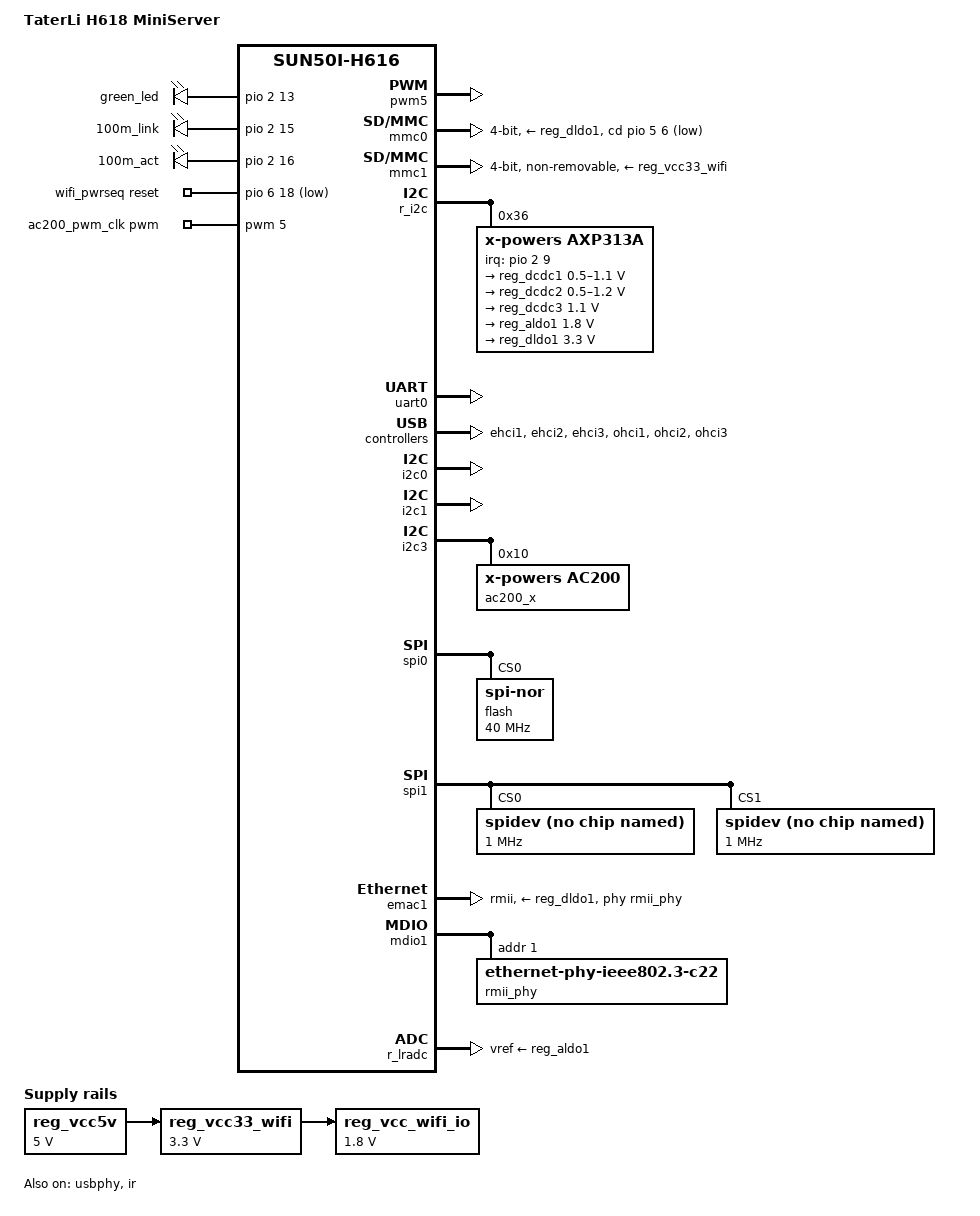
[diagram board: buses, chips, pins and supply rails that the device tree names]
// SPDX-License-Identifier: (GPL-2.0+ or MIT)
/*
 * Copyright (C) 2020 Arm Ltd.
 */

/dts-v1/;

#include "sun50i-h616.dtsi"
#include "sun50i-h616-cpu-opp.dtsi"

#include <dt-bindings/gpio/gpio.h>
#include <dt-bindings/interrupt-controller/arm-gic.h>
#include <dt-bindings/input/input.h>
#include <dt-bindings/leds/common.h>

/ {
	model = "TaterLi H618 MiniServer";
	compatible = "allwinner,sun50i-h616";

	aliases {
		serial0 = &uart0;
		serial2 = &uart2;
		serial3 = &uart3;
		serial4 = &uart4;
		serial5 = &uart5;
		ethernet0 = &emac1;
	};

	chosen {
		stdout-path = "serial0:115200n8";
	};

	leds: leds {
		compatible = "gpio-leds";

		led-green {
			label = "green_led";
			gpios = <&pio 2 13 GPIO_ACTIVE_HIGH>; /* PC13 */
			linux,default-trigger = "heartbeat";
		};

		100m_link {
			label = "100m_link";
			gpios = <&pio 2 15 GPIO_ACTIVE_HIGH>; /* PC15 */
			default-state = "off";
		};

		100m_act {
			label = "100m_act";
			gpios = <&pio 2 16 GPIO_ACTIVE_HIGH>; /* PC16 */
			default-state = "off";
		};
	};

	reg_vcc5v: vcc5v {
		/* board wide 5V supply directly from the USB-C socket */
		compatible = "regulator-fixed";
		regulator-name = "vcc-5v";
		regulator-min-microvolt = <5000000>;
		regulator-max-microvolt = <5000000>;
		regulator-always-on;
	};

	reg_vcc33_wifi: vcc33-wifi {
		/* Always on 3.3V regulator for WiFi and BT */
		compatible = "regulator-fixed";
		regulator-name = "vcc33-wifi";
		regulator-min-microvolt = <3300000>;
		regulator-max-microvolt = <3300000>;
		regulator-always-on;
		vin-supply = <&reg_vcc5v>;
	};

	reg_vcc_wifi_io: vcc-wifi-io {
		/* Always on 1.8V/300mA regulator for WiFi and BT IO */
		compatible = "regulator-fixed";
		regulator-name = "vcc-wifi-io";
		regulator-min-microvolt = <1800000>;
		regulator-max-microvolt = <1800000>;
		regulator-always-on;
		vin-supply = <&reg_vcc33_wifi>;
	};

	wifi_pwrseq: wifi-pwrseq {
		compatible = "mmc-pwrseq-simple";
		clocks = <&rtc 1>;
		clock-names = "osc32k-out";
		reset-gpios = <&pio 6 18 GPIO_ACTIVE_LOW>; /* PG18 */
		post-power-on-delay-ms = <200>;
	};

	ac200_pwm_clk: ac200_clk {
		compatible = "pwm-clock";
		#clock-cells = <0>;
		// pwm5 period_ns = 500 > 334 for select 24M clock.
		pwms = <&pwm 5 500 0>;
		clock-frequency = <2000000>;
		status = "okay";
	};
};

&pwm5 {
	// clk_bypass_output = 1 for Clock direct output without frequency division
	// so pwm5 output is 24MHz for AC200 & AC300 clock
	clk_bypass_output = <0x1>;
	status = "okay";
};

&mmc0 {
	vmmc-supply = <&reg_dldo1>;
	cd-gpios = <&pio 5 6 GPIO_ACTIVE_LOW>;	/* PF6 */
	bus-width = <4>;
	max-frequency = <50000000>;
	status = "okay";
};

&mmc1 {
	vmmc-supply = <&reg_vcc33_wifi>;
	vqmmc-supply = <&reg_vcc_wifi_io>;
	mmc-pwrseq = <&wifi_pwrseq>;
	bus-width = <4>;
	non-removable;
	mmc-ddr-1_8v;
	status = "okay";
};

&r_i2c {
	status = "okay";

	pinctrl-0 = <&r_i2c_pins>;

	axp313a: pmic@36 {
		compatible = "x-powers,axp313a";
		reg = <0x36>;
		wakeup-source;

		interrupt-parent = <&pio>;
		interrupts = <2 9 IRQ_TYPE_LEVEL_LOW>; /* PC9 */
		interrupt-controller;
		#interrupt-cells = <1>;

		regulators{
			reg_dcdc1: dcdc1 {
				regulator-name = "axp313a-dcdc1";
				regulator-min-microvolt = <500000>;
				regulator-max-microvolt = <1100000>;
				regulator-step-delay-us = <25>;
				regulator-final-delay-us = <50>;
				regulator-always-on;
			};

			reg_dcdc2: dcdc2 {
				regulator-name = "axp313a-dcdc2";
				regulator-min-microvolt = <500000>;
				regulator-max-microvolt = <1200000>;
				regulator-step-delay-us = <25>;
				regulator-final-delay-us = <50>;
				regulator-ramp-delay = <200>;
				regulator-always-on;
			};

			reg_dcdc3: dcdc3 {
				regulator-name = "axp313a-dcdc3";
				regulator-min-microvolt = <1100000>;
				regulator-max-microvolt = <1100000>;
				regulator-step-delay-us = <25>;
				regulator-final-delay-us = <50>;
				regulator-always-on;
			};

			reg_aldo1: ldo1 {
				regulator-name = "axp313a-aldo1";
				regulator-min-microvolt = <1800000>;
				regulator-max-microvolt = <1800000>;
				regulator-step-delay-us = <25>;
				regulator-final-delay-us = <50>;
				regulator-always-on;
			};

			reg_dldo1: ldo2 {
				regulator-name = "axp313a-dldo1";
				regulator-min-microvolt = <3300000>;
				regulator-max-microvolt = <3300000>;
				regulator-step-delay-us = <25>;
				regulator-final-delay-us = <50>;
				regulator-always-on;
			};
		};
	};
};

&uart0 {
	pinctrl-names = "default";
	pinctrl-0 = <&uart0_ph_pins>;
	status = "okay";
};

&usbphy {
	status = "okay";
};

&ehci1 {
	status = "okay";
};

&ehci2 {
	status = "okay";
};

&ehci3 {
	status = "okay";
};

&ohci1 {
	status = "okay";
};

&ohci2 {
	status = "okay";
};

&ohci3 {
	status = "okay";
};

&ir {
	pinctrl-names = "default";
	pinctrl-0 = <&ir_rx_pin>; /* PH10 -> 扩展板 */
	status = "okay";
};

&i2c0 {
	pinctrl-names = "default";
	pinctrl-0 = <&i2c0_pi_pins>;
	status = "okay";
};

&i2c1 {
	pinctrl-names = "default";
	pinctrl-0 = <&i2c1_pi_pins>;
	status = "okay";
};

&i2c3 {
	status = "okay";
	pinctrl-names = "default";
	pinctrl-0 = <&i2c3_pa_pins>;

	ac200_x: mfd@10 {
		compatible = "x-powers,ac200";
		reg = <0x10>;
		clocks = <&ac200_pwm_clk>;
		// ephy id
		nvmem-cells = <&ephy_calibration>;
		nvmem-cell-names = "calibration";

		ac200_ephy: phy {
			compatible = "x-powers,ac200-ephy";
			status = "okay";
		};
	};
};

&spi0  {
	status = "okay";
	pinctrl-names = "default";
	pinctrl-0 = <&spi0_pins>, <&spi0_cs0_pin>;

	flash@0 {
		status = "okay";
		#address-cells = <1>;
		#size-cells = <1>;
		compatible = "jedec,spi-nor";
		reg = <0>;
		spi-max-frequency = <40000000>;
	};
};

&spi1 {
	status = "okay";
	#address-cells = <1>;
	#size-cells = <0>;
	pinctrl-names = "default";
	pinctrl-0 = <&spi1_pins>, <&spi1_cs0_pin>, <&spi1_cs1_pin>;

	spidev@0 {
        compatible = "linux,spidev";
        reg = <0>; // Chip Select 0
        spi-max-frequency = <1000000>;
        status = "okay";
    };

    spidev@1 {
        compatible = "linux,spidev";
        reg = <1>; // Chip Select 1
        spi-max-frequency = <1000000>;
        status = "okay";
    };
};

&cpu0 {
	cpu-supply = <&reg_dcdc2>;
	status = "okay";
};

&pwm1 {
	pinctrl-names = "default";
	pinctrl-0 = <&pwm1_pi_pin>;
};

&pwm2 {
	pinctrl-names = "default";
	pinctrl-0 = <&pwm2_pi_pin>;
};

&pwm3 {
	pinctrl-names = "default";
	pinctrl-0 = <&pwm3_pi_pin>;
};

&pwm4 {
	pinctrl-names = "default";
	pinctrl-0 = <&pwm4_pi_pin>;
};

&emac1 {
	pinctrl-names = "default";
	pinctrl-0 = <&rmii_pins>;
	phy-mode = "rmii";
	phy-handle = <&rmii_phy>;
	phy-supply = <&reg_dldo1>;
	allwinner,rx-delay-ps = <3100>;
	allwinner,tx-delay-ps = <700>;
	status = "okay";
};

&mdio1 {
	rmii_phy: ethernet-phy@1 {
		compatible = "ethernet-phy-ieee802.3-c22";
		reg = <1>;
	};
};

&r_lradc {
	vref-supply = <&reg_aldo1>;
	status = "okay";

	/* 扩展板 */
	button-500 {
		label = "KEY_1";
		linux,code = <KEY_1>;
		channel = <0>;
		voltage = <500000>;
	};

	button-800 {
		label = "KEY_2";
		linux,code = <KEY_2>;
		channel = <0>;
		voltage = <800000>;
	};
};
